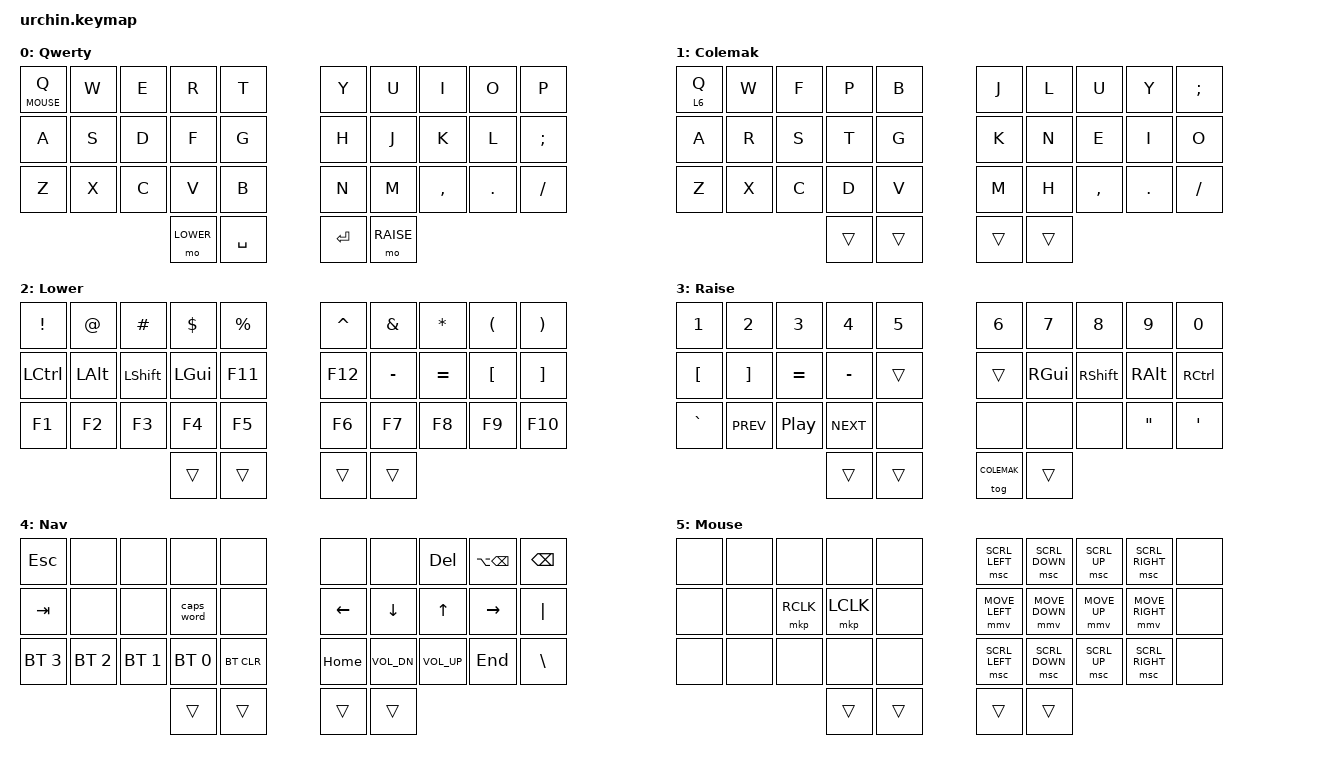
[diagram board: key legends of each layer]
/*
 * Copyright (c) 2020 duckyb
 *
 * SPDX-License-Identifier: MIT
 */
#define ZMK_POINTING_DEFAULT_MOVE_VAL 2500
#define ZMK_POINTING_DEFAULT_SCRL_VAL 30

#include <dt-bindings/zmk/mouse.h>
#include <behaviors.dtsi>
#include <dt-bindings/zmk/keys.h>
#include <dt-bindings/zmk/bt.h>
#include <dt-bindings/zmk/pointing.h>
#include <dt-bindings/zmk/outputs.h>
#include "keymap_italian.h"

// Layer definitions
#define QWERTY 0
#define COLEMAK 1
#define LOWER 2
#define RAISE 3
#define NAV 4
#define MOUSE 5
// #define MOD_LOWER 6
// #define MOD_RAISE 7
// -----------------

&lt {
	flavor = "balanced";
	tapping-term-ms = <150>;
};

/ {
	behaviors {
  //   hrml: hrm_left {
		// 	compatible = "zmk,behavior-hold-tap";
		// 	#binding-cells = <2>;
		// 	flavor = "balanced";
		// 	require-prior-idle-ms = <140>;
		// 	tapping-term-ms = <150>;
		// 	quick-tap-ms = <140>;
		// 	bindings = <&kp>, <&kp>;
		// 	hold-trigger-key-positions = < 5 6 7 8 9 15 16 17 18 19 25 26 27 28 29 30 33 10 11 12 13 31 >; // 31 32
		// 	hold-trigger-on-release;
  // 	};
		//
  //   hrmr: hrm_right {
		// 	compatible = "zmk,behavior-hold-tap";
		// 	#binding-cells = <2>;
		// 	flavor = "balanced";
		// 	require-prior-idle-ms = <140>;
		// 	tapping-term-ms = <150>;
		// 	quick-tap-ms = <140>;
		// 	bindings = <&kp>, <&kp>;
		// 	hold-trigger-key-positions = < 0 1 2 3 4 10 11 12 13 14 20 21 22 23 24 30 33 16 17 18 19 >; // 32 33
		// 	hold-trigger-on-release;
		// };
	};

	combos {
		compatible = "zmk,combos";
		combo_tab {
			bindings = <&kp TAB>;
			key-positions = <0 10>;
			timeout-ms = <25>;
		};
		// combo_mod_raise {
		// 	timeout-ms = <25>;
		// 	key-positions = <30 31>;
		// 	bindings = <&mo MOD_RAISE>;
		// };
		// combo_mod_lower {
		// 	timeout-ms = <25>;
		// 	key-positions = <32 33>;
		// 	bindings = <&mo MOD_LOWER>;
		// };
		// combo_lgui {
		// 	slow-release;
		// 	bindings = <&kp LGUI>;
		// 	key-positions = <31 13>;
		// };
		// combo_lshft {
		// 	slow-release;
		// 	bindings = <&kp LSHFT>;
		// 	key-positions = <31 12>;
		// };
		// combo_lalt {
		// 	slow-release;
		// 	bindings = <&kp LALT>;
		// 	key-positions = <31 11>;
		// };
		// combo_lctrl {
		// 	slow-release;
		// 	bindings = <&kp LCTRL>;
		// 	key-positions = <31 10>;
		// };
		// combo_rgui {
		// 	slow-release;
		// 	bindings = <&kp RGUI>;
		// 	key-positions = <32 16>;
		// };
		// combo_rshft {
		// 	slow-release;
		// 	bindings = <&kp LSHFT>;
		// 	key-positions = <32 17>;
		// };
		// combo_ralt {
		// 	slow-release;
		// 	bindings = <&kp LALT>;
		// 	key-positions = <32 18>;
		// };
		// combo_rctrl {
		// 	slow-release;
		// 	bindings = <&kp LCTRL>;
		// 	key-positions = <32 19>;
		// };
	};

	conditional_layers {
  	compatible = "zmk,conditional-layers";
		tri_layer {
			if-layers = <LOWER RAISE>;
			then-layer = <NAV>;
		};
	};

	keymap {
		compatible = "zmk,keymap";

		qwerty {
			label = "Qwerty";
			bindings = <
			&lt MOUSE Q &kp W &kp E &kp R &kp T           &kp Y &kp U  &kp I     &kp O   &kp P
			&kp A       &kp S &kp D &kp F &kp G           &kp H &kp J  &kp K     &kp L   &kp SEMI
			&kp Z       &kp X &kp C &kp V &kp B           &kp N &kp M  &kp COMMA &kp DOT &kp FSLH
							            &mo LOWER &kp SPACE       &kp ENTER &mo RAISE
			>;
		};

		colemak {
			label = "Colemak";
			bindings = <
		  &lt 6 Q &kp W &kp F &kp P &kp B         &kp J  &kp L  &kp U      &kp Y    &kp SEMI
      &kp A   &kp R &kp S &kp T &kp G         &kp K  &kp N  &kp E      &kp I    &kp O
      &kp Z   &kp X &kp C &kp D &kp V         &kp M  &kp H  &kp COMMA  &kp DOT  &kp FSLH
													&trans &trans	      &trans &trans
			>;
		};

		lower {
			label = "Lower";
			bindings = <
			&kp EXCL  &kp AT   &kp HASH   &kp DLLR &kp PRCNT     &kp CARET     &kp AMPS   &kp STAR  &kp LPAR  &kp RPAR
			&kp LCTRL &kp LALT &kp LSHFT  &kp LGUI &kp F11       &kp F12       &kp MINUS  &kp EQUAL &kp LBKT  &kp RBKT
      // &hrml LCTRL F1 &hrml LALT F2 &hrml LSHFT F3 &hrml LGUI F4 &kp F5        &kp F6    &kp UNDER &kp PLUS  &kp LBRC  &kp RBRC
      // &kp F1    &kp F2  &kp F3   &kp F4   &kp F5        &kp F6     &kp UNDER  &kp PLUS  &kp LBRC  &kp RBRC
      &kp F1    &kp F2   &kp F3     &kp F4   &kp F5        &kp F6        &kp F7     &kp F8    &kp F9    &kp F10
											          		&trans   &trans	       &trans        &trans
			>;
		};

		raise {
			label = "Raise";
			bindings = <
		  &kp N1     &kp N2      &kp N3    &kp N4      &kp N5       &kp N6  &kp N7    &kp N8     &kp N9    &kp N0
			&kp LBKT   &kp RBKT    &kp EQUAL &kp MINUS   &trans       &trans  &kp RGUI  &kp RSHFT  &kp RALT  &kp RCTRL
      // &none   &kp C_PREV  &kp C_PP      &kp C_NEXT   &none      &none   &hrmr RGUI MINUS  &hrmr RSHFT EQUAL  &hrmr RALT LBKT  &hrmr RCTRL RBKT
      // &none   &kp C_PREV  &kp C_PP      &kp C_NEXT   &none      &none   &kp MINUS   &kp EQUAL  &kp LBKT  &kp RBKT
      &kp GRAVE  &kp C_PREV  &kp C_PP  &kp C_NEXT  &none        &none   &none     &none      &kp DQT   &kp SQT
		  				  		  			           &trans      &trans       &tog COLEMAK  &trans
			>;
		};

		nav {
			label = "Nav";
			bindings = <
			&kp ESC      &none        &none        &none        &none           &none           &none           &kp DEL       &kp LA(BSPC)     &kp BSPC
      &kp TAB      &none        &none        &caps_word   &none           &kp LEFT_ARROW  &kp DOWN_ARROW  &kp UP_ARROW  &kp RIGHT_ARROW  &kp PIPE
      &bt BT_SEL 3 &bt BT_SEL 2 &bt BT_SEL 1 &bt BT_SEL 0 &bt BT_CLR      &kp HOME        &kp C_VOL_DN    &kp C_VOL_UP  &kp END          &kp BSLH
													&trans &trans	                                  &trans &trans
			>;
		};

		mouse {
			label = "Mouse";
			bindings = <
			&none   &none   &none      &none      &none       &msc SCRL_LEFT  &msc SCRL_DOWN  &msc SCRL_UP  &msc SCRL_RIGHT  &none
      &none   &none   &mkp RCLK  &mkp LCLK  &none       &mmv MOVE_LEFT  &mmv MOVE_DOWN  &mmv MOVE_UP  &mmv MOVE_RIGHT  &none
      &none   &none   &none      &none      &none       &msc SCRL_LEFT  &msc SCRL_DOWN  &msc SCRL_UP  &msc SCRL_RIGHT  &none
													&trans &trans	      &trans &trans
			>;
		};

		// mod_lower {
		// 		label = "Mod Lower";
		// 		bindings = <
  //       &trans     &trans    &trans     &trans     &trans      &trans        &trans  &trans  &trans  &trans
  //       &kp LCTRL  &kp LALT  &kp LSHFT  &kp LGUI   &trans      &trans        &trans  &trans  &trans  &trans
  //       &trans     &trans    &trans     &trans     &trans      &trans        &trans   &trans   &trans   &trans
  //                        &trans         &trans                 &tog COLEMAK  &trans
		// 		>;
		// };
		//
		// mod_raise {
		// 		label = "Mod Raise";
		// 		bindings = <
  //       &trans     &trans    &trans     &trans    &trans      &trans  &trans    &trans     &trans    &trans
  //       &kp LCTRL  &kp LALT  &kp LSHFT  &kp LGUI  &trans      &trans  &kp RGUI  &kp RSHFT  &kp RALT  &kp RCTRL
  //       &trans     &trans    &trans     &trans    &trans      &trans  &trans    &trans     &trans    &trans
  //                               &trans  &trans      &trans  &trans
		// 		>;
		// };
	};
};
